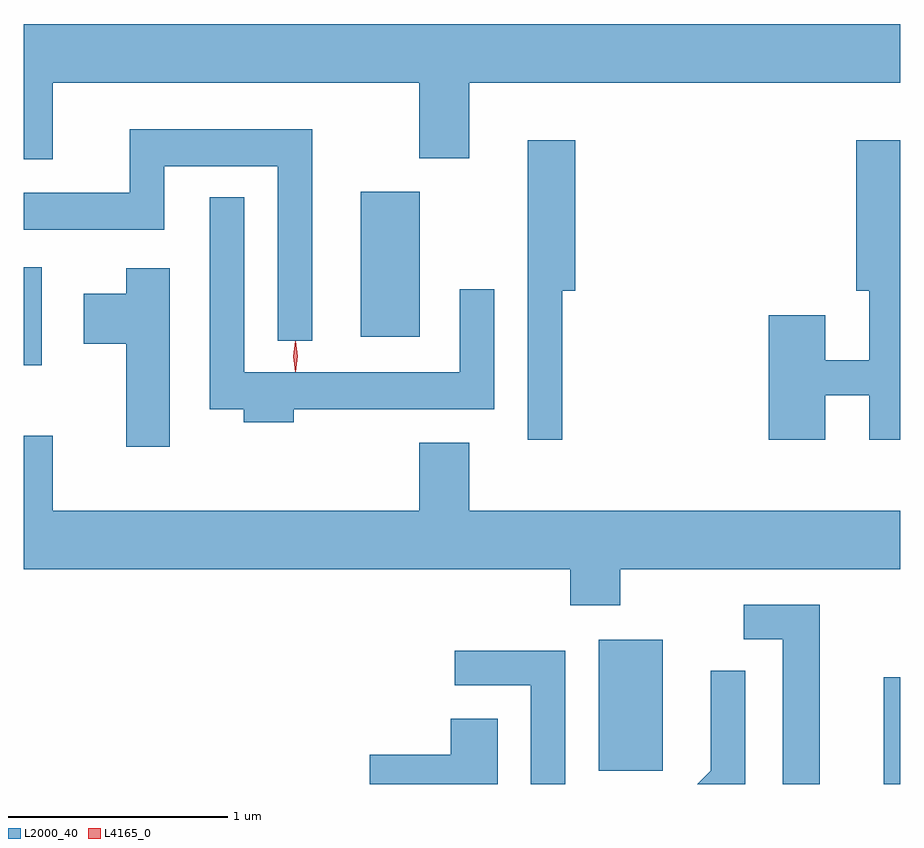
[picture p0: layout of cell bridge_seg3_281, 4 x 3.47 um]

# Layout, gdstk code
import gdstk
lib = gdstk.Library(unit=1e-6, precision=1e-09)
def R(c, l, rs):  # rectangles x0, y0, x1, y1
    for r in rs: c.add(gdstk.rectangle(r[:2], r[2:], *l))
def P(c, l, *ps):  # polygons
    for p in ps: c.add(gdstk.Polygon(p, *l))
L2000_40 = (2000, 40)
L4165_0 = (4165, 0)

bridge_seg3_281 = lib.new_cell('bridge_seg3_281')
R(bridge_seg3_281, L2000_40, [(1039.411,1133.916,1039.487,1134.404), (1038.111,1133.976,1038.404,1134.574), (1035.487,1135.826,1035.569,1136.274), (1037.026,1135.956,1037.294,1136.619)])
P(bridge_seg3_281, L2000_40, [(1035.619,1137.116),(1037.291,1137.116),(1037.291,1136.771),(1037.519,1136.771),(1037.519,1137.116),(1039.487,1137.116),(1039.487,1137.384),(1035.487,1137.384),(1035.487,1136.766),(1035.619,1136.766)],
  [(1036.804,1136.904),(1035.971,1136.904),(1035.971,1136.614),(1035.487,1136.614),(1035.487,1136.446),(1036.129,1136.446),(1036.129,1136.736),(1036.646,1136.736),(1036.646,1135.938),(1036.804,1135.938)],
  [(1039.144,1135.691),(1039.346,1135.691),(1039.346,1135.488),(1039.487,1135.488),(1039.487,1136.854),(1039.286,1136.854),(1039.286,1136.166),(1039.346,1136.166),(1039.346,1135.849),(1039.144,1135.849),(1039.144,1136.054),(1038.886,1136.054),(1038.886,1135.486),(1039.144,1135.486)],
  [(1037.944,1136.166),(1038.004,1136.166),(1038.004,1136.854),(1037.786,1136.854),(1037.786,1135.488),(1037.944,1135.488)],
  [(1036.719,1135.626),(1037.634,1135.626),(1037.634,1136.173),(1037.476,1136.173),(1037.476,1135.794),(1036.494,1135.794),(1036.494,1136.593),(1036.336,1136.593),(1036.336,1135.626),(1036.491,1135.626),(1036.491,1135.566),(1036.719,1135.566)],
  [(1036.154,1136.269),(1035.956,1136.269),(1035.956,1136.154),(1035.761,1136.154),(1035.761,1135.926),(1035.956,1135.926),(1035.956,1135.456),(1036.154,1135.456)],
  [(1038.209,1134.896),(1039.487,1134.896),(1039.487,1135.164),(1037.519,1135.164),(1037.519,1135.474),(1037.291,1135.474),(1037.291,1135.164),(1035.619,1135.164),(1035.619,1135.504),(1035.487,1135.504),(1035.487,1134.896),(1037.981,1134.896),(1037.981,1134.731),(1038.209,1134.731)],
  [(1039.119,1134.734),(1038.773,1134.734),(1038.773,1134.576),(1038.951,1134.576),(1038.951,1133.916),(1039.119,1133.916)],
  [(1037.959,1134.524),(1037.453,1134.524),(1037.453,1134.366),(1037.801,1134.366),(1037.801,1133.916),(1037.959,1133.916)],
  [(1038.779,1134.433),(1038.621,1134.433),(1038.621,1133.977),(1038.56,1133.916),(1038.779,1133.916)],
  [(1037.649,1134.214),(1037.436,1134.214),(1037.436,1134.049),(1037.066,1134.049),(1037.066,1133.916),(1037.649,1133.916)])
P(bridge_seg3_281, L4165_0, [(1036.727,1135.797),(1036.727,1135.798),(1036.717,1135.867),(1036.727,1135.936),(1036.727,1135.936),(1036.728,1135.936),(1036.737,1135.867),(1036.728,1135.798)],
  [(1036.725,1135.8),(1036.716,1135.866),(1036.725,1135.932),(1036.725,1135.933),(1036.726,1135.932),(1036.735,1135.866),(1036.726,1135.8),(1036.726,1135.8)])

lib.write_gds('bridge_seg3_281.gds')
